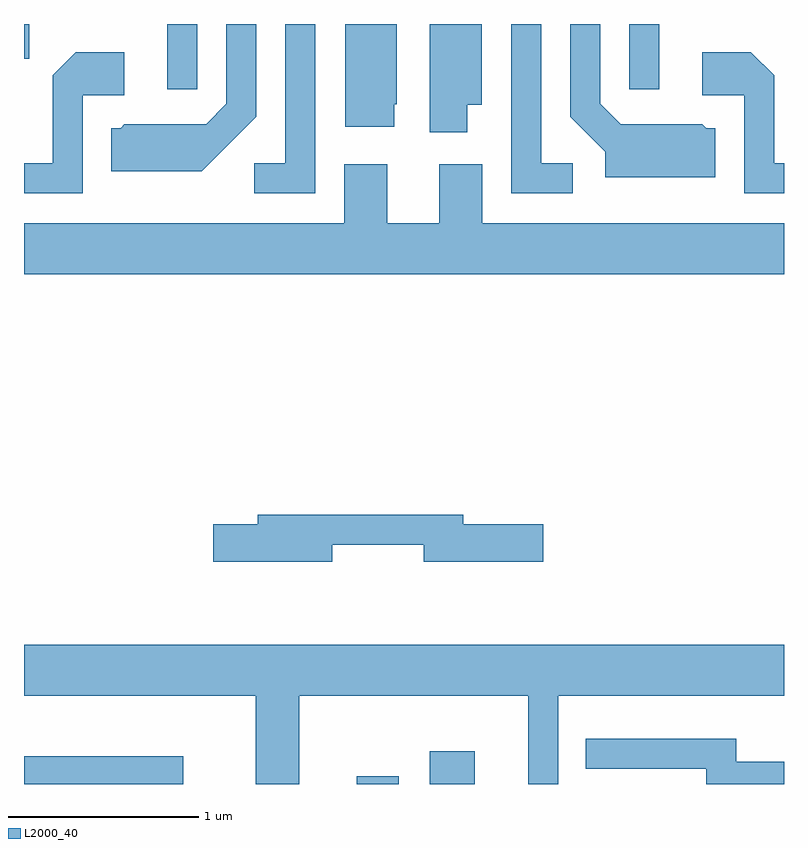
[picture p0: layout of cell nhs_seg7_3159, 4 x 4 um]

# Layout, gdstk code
import gdstk
lib = gdstk.Library(unit=1e-6, precision=1e-09)
def R(c, l, rs):  # rectangles x0, y0, x1, y1
    for r in rs: c.add(gdstk.rectangle(r[:2], r[2:], *l))
def P(c, l, *ps):  # polygons
    for p in ps: c.add(gdstk.Polygon(p, *l))
L2000_40 = (2000, 40)

nhs_seg7_3159 = lib.new_cell('nhs_seg7_3159')
R(nhs_seg7_3159, L2000_40, [(281.611,1758.252,282.449,1758.399), (283.361,1758.252,283.584,1758.294), (283.746,1758.252,283.984,1758.424), (282.366,1761.908,282.524,1762.252), (284.796,1761.908,284.954,1762.252), (281.611,1762.068,281.639,1762.252)])
P(nhs_seg7_3159, L2000_40, [(282.834,1761.764),(282.834,1762.252),(282.676,1762.252),(282.676,1761.832),(282.569,1761.724),(282.139,1761.724),(282.119,1761.704),(282.071,1761.704),(282.071,1761.476),(282.547,1761.476)],
  [(285.249,1761.704),(285.202,1761.704),(285.182,1761.724),(284.752,1761.724),(284.644,1761.832),(284.644,1762.252),(284.486,1762.252),(284.486,1761.764),(284.671,1761.579),(284.671,1761.446),(285.249,1761.446)],
  [(283.944,1761.826),(284.019,1761.826),(284.019,1762.252),(283.746,1762.252),(283.746,1761.681),(283.944,1761.681)],
  [(283.144,1762.252),(282.986,1762.252),(282.986,1761.519),(282.823,1761.519),(282.823,1761.361),(283.144,1761.361)],
  [(284.498,1761.519),(284.334,1761.519),(284.334,1762.252),(284.176,1762.252),(284.176,1761.361),(284.498,1761.361)],
  [(283.559,1761.83),(283.574,1761.83),(283.574,1762.252),(283.301,1762.252),(283.301,1761.711),(283.559,1761.711)],
  [(285.611,1761.519),(285.559,1761.519),(285.559,1761.982),(285.437,1762.104),(285.181,1762.104),(285.181,1761.876),(285.401,1761.876),(285.401,1761.361),(285.611,1761.361)],
  [(281.919,1761.876),(282.139,1761.876),(282.139,1762.104),(281.884,1762.104),(281.761,1761.982),(281.761,1761.519),(281.611,1761.519),(281.611,1761.361),(281.919,1761.361)],
  [(285.611,1761.204),(284.024,1761.204),(284.024,1761.514),(283.796,1761.514),(283.796,1761.204),(283.524,1761.204),(283.524,1761.514),(283.296,1761.514),(283.296,1761.204),(281.611,1761.204),(281.611,1760.936),(285.611,1760.936)],
  [(283.234,1759.511),(283.716,1759.511),(283.716,1759.421),(284.344,1759.421),(284.344,1759.619),(283.924,1759.619),(283.924,1759.669),(282.841,1759.669),(282.841,1759.619),(282.606,1759.619),(282.606,1759.421),(283.234,1759.421)],
  [(283.059,1758.716),(284.266,1758.716),(284.266,1758.252),(284.424,1758.252),(284.424,1758.716),(285.611,1758.716),(285.611,1758.984),(281.611,1758.984),(281.611,1758.716),(282.831,1758.716),(282.831,1758.252),(283.059,1758.252)],
  [(285.611,1758.369),(285.359,1758.369),(285.359,1758.489),(284.568,1758.489),(284.568,1758.331),(285.201,1758.331),(285.201,1758.252),(285.611,1758.252)])

lib.write_gds('nhs_seg7_3159.gds')
